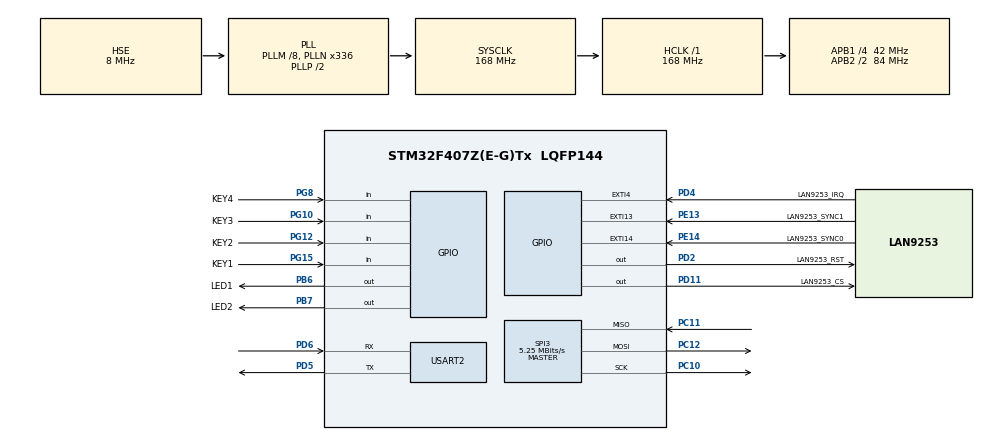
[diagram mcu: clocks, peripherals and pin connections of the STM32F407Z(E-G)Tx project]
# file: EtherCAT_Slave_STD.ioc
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Mcu.Family=STM32F4
Mcu.Name=STM32F407Z(E-G)Tx
Mcu.Package=LQFP144
NVIC.EXTI15_10_IRQn=true\:1\:1\:true\:false\:true\:true\:true\:true
NVIC.EXTI4_IRQn=true\:0\:0\:true\:false\:true\:true\:true\:true
NVIC.PriorityGroup=NVIC_PRIORITYGROUP_2
NVIC.TIM2_IRQn=true\:2\:1\:true\:false\:true\:true\:true\:true
PA13.Mode=Serial_Wire
PA13.Signal=SYS_JTMS-SWDIO
PA14.Mode=Serial_Wire
PA14.Signal=SYS_JTCK-SWCLK
PB6.GPIO_Label=LED1
PB6.GPIO_PuPd=GPIO_PULLUP
PB6.GPIO_Speed=GPIO_SPEED_FREQ_HIGH
PB6.Signal=GPIO_Output
PB7.GPIO_Label=LED2
PB7.GPIO_PuPd=GPIO_PULLUP
PB7.GPIO_Speed=GPIO_SPEED_FREQ_HIGH
PB7.Signal=GPIO_Output
PC10.GPIO_PuPd=GPIO_PULLUP
PC10.Mode=Full_Duplex_Master
PC10.Signal=SPI3_SCK
PC11.GPIO_PuPd=GPIO_PULLUP
PC11.Mode=Full_Duplex_Master
PC11.Signal=SPI3_MISO
PC12.GPIO_PuPd=GPIO_PULLUP
PC12.Mode=Full_Duplex_Master
PC12.Signal=SPI3_MOSI
PD11.GPIO_Label=LAN9253_CS
PD11.GPIO_PuPd=GPIO_PULLUP
PD11.GPIO_Speed=GPIO_SPEED_FREQ_VERY_HIGH
PD11.PinState=GPIO_PIN_SET
PD11.Signal=GPIO_Output
PD2.GPIO_Label=LAN9253_RST
PD2.GPIO_PuPd=GPIO_PULLUP
PD2.GPIO_Speed=GPIO_SPEED_FREQ_HIGH
PD2.PinState=GPIO_PIN_SET
PD2.Signal=GPIO_Output
PD4.GPIO_Label=LAN9253_IRQ
PD4.GPIO_ModeDefaultEXTI=GPIO_MODE_IT_FALLING
PD4.GPIO_PuPd=GPIO_PULLUP
PD4.Signal=GPXTI4
PD5.Mode=Asynchronous
PD5.Signal=USART2_TX
PD6.Mode=Asynchronous
PD6.Signal=USART2_RX
PE13.GPIO_Label=LAN9253_SYNC1
PE13.GPIO_ModeDefaultEXTI=GPIO_MODE_IT_FALLING
PE13.GPIO_PuPd=GPIO_PULLUP
PE13.Signal=GPXTI13
PE14.GPIO_Label=LAN9253_SYNC0
PE14.GPIO_ModeDefaultEXTI=GPIO_MODE_IT_FALLING
PE14.GPIO_PuPd=GPIO_PULLUP
PE14.Signal=GPXTI14
PG10.GPIO_Label=KEY3
PG10.GPIO_PuPd=GPIO_PULLUP
PG10.Signal=GPIO_Input
PG12.GPIO_Label=KEY2
PG12.GPIO_PuPd=GPIO_PULLUP
PG12.Signal=GPIO_Input
PG15.GPIO_Label=KEY1
PG15.GPIO_PuPd=GPIO_PULLUP
PG15.Signal=GPIO_Input
PG8.GPIO_Label=KEY4
PG8.GPIO_PuPd=GPIO_PULLUP
PG8.Signal=GPIO_Input
PH0-OSC_IN.Mode=HSE-External-Oscillator
PH0-OSC_IN.Signal=RCC_OSC_IN
PH1-OSC_OUT.Mode=HSE-External-Oscillator
PH1-OSC_OUT.Signal=RCC_OSC_OUT
ProjectManager.HeapSize=0x1000
ProjectManager.StackSize=0x2000
ProjectManager.TargetToolchain=CMake
RCC.48MHZClocksFreq_Value=84000000
RCC.AHBFreq_Value=168000000
RCC.APB1CLKDivider=RCC_HCLK_DIV4
RCC.APB1Freq_Value=42000000
RCC.APB1TimFreq_Value=84000000
RCC.APB2CLKDivider=RCC_HCLK_DIV2
RCC.APB2Freq_Value=84000000
RCC.APB2TimFreq_Value=168000000
RCC.CortexFreq_Value=168000000
RCC.HCLKFreq_Value=168000000
RCC.HSE_VALUE=8000000
RCC.HSI_VALUE=16000000
RCC.LSE_VALUE=32768
RCC.PLLM=8
RCC.PLLN=336
RCC.PLLSourceVirtual=RCC_PLLSOURCE_HSE
RCC.SYSCLKFreq_VALUE=168000000
RCC.SYSCLKSource=RCC_SYSCLKSOURCE_PLLCLK
RCC.VCOOutputFreq_Value=336000000
SPI3.BaudRatePrescaler=SPI_BAUDRATEPRESCALER_8
SPI3.CalculateBaudRate=5.25 MBits/s
SPI3.Direction=SPI_DIRECTION_2LINES
SPI3.Mode=SPI_MODE_MASTER
SPI3.VirtualType=VM_MASTER
TIM2.AutoReloadPreload=TIM_AUTORELOAD_PRELOAD_ENABLE
TIM2.Period=999
TIM2.Prescaler=83
USART2.VirtualMode=VM_ASYNC
VP_TIM2_VS_ClockSourceINT.Mode=Internal
board=custom

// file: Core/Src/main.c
/* USER CODE BEGIN Header */
/**
  ******************************************************************************
  * @file           : main.c
  * @brief          : Main program body
  ******************************************************************************
  * @attention
  *
  * Copyright (c) 2026 STMicroelectronics.
  * All rights reserved.
  *
  * This software is licensed under terms that can be found in the LICENSE file
  * in the root directory of this software component.
  * If no LICENSE file comes with this software, it is provided AS-IS.
  *
  ******************************************************************************
  */
/* USER CODE END Header */
#include "main.h"
#include "spi.h"
#include "tim.h"
#include "usart.h"
#include "gpio.h"

/* USER CODE BEGIN Includes */
#include <stdint.h>
#include <stdio.h>
#include <inttypes.h>
#include "bsp_led.h"
#include "bsp_uart.h"
#include "bsp_ssc_hw.h"
#include "applInterface.h"
#include "ecatappl.h"
#include "ecatslv.h"
#include "bsp_lan9253.h"
#include "CP-Device.h"

/* USER CODE END Includes */

/* USER CODE BEGIN PV */
volatile static uint32_t g_PDI_Isr_Cnt = 0U;
volatile static uint32_t g_sync_Isr_Cnt = 0U;
/* USER CODE END PV */

void SystemClock_Config(void);

int main(void)
{

  /* MCU Configuration--------------------------------------------------------*/

  /* Reset of all peripherals, Initializes the Flash interface and the Systick. */
  HAL_Init();

  /* Configure the system clock */
  SystemClock_Config();

  /* Initialize all configured peripherals */
  MX_GPIO_Init();
  MX_SPI3_Init();
  MX_TIM2_Init();
  MX_USART2_UART_Init();
  /* USER CODE BEGIN 2 */
  BSP_UART_Init();
  BSP_LED_Init();
  if (HW_Init() != 0U) {
    Error_Handler();
  }
  if (MainInit() != 0U) {
    Error_Handler();
  }
  HAL_TIM_Base_Start_IT(&htim2);

  // uint32_t time_start=0U;
  // uint32_t time_current=0U;

  /* USER CODE END 2 */

  /* Infinite loop */
  /* USER CODE BEGIN WHILE */
  while (1)
  {
    // time_current=HAL_GetTick();
    // if(time_current-time_start>=1000U){
    //   time_start=time_current;
    //   printf("time: %" PRIu32 "\n", time_current-time_start);
    //       printf("PDI_Isr_Cnt: %" PRIu32 "\n", g_PDI_Isr_Cnt);
    //       printf("app_Isr_Cnt: %" PRIu32 "\n", g_app_Isr_Cnt);
    //       printf("sync_Isr_Cnt: %" PRIu32 "\n", g_sync_Isr_Cnt);
    // }

    MainLoop();
    // printf("PDI_Isr_Cnt: %" PRIu32 "\n", g_PDI_Isr_Cnt);
    /* USER CODE END WHILE */

  }
}

void SystemClock_Config(void)
{
  RCC_OscInitTypeDef RCC_OscInitStruct = {0};
  RCC_ClkInitTypeDef RCC_ClkInitStruct = {0};

  /** Configure the main internal regulator output voltage
  */
  __HAL_RCC_PWR_CLK_ENABLE();
  __HAL_PWR_VOLTAGESCALING_CONFIG(PWR_REGULATOR_VOLTAGE_SCALE1);

  /** Initializes the RCC Oscillators according to the specified parameters
  * in the RCC_OscInitTypeDef structure.
  */
  RCC_OscInitStruct.OscillatorType = RCC_OSCILLATORTYPE_HSE;
  RCC_OscInitStruct.HSEState = RCC_HSE_ON;
  RCC_OscInitStruct.PLL.PLLState = RCC_PLL_ON;
  RCC_OscInitStruct.PLL.PLLSource = RCC_PLLSOURCE_HSE;
  RCC_OscInitStruct.PLL.PLLM = 8;
  RCC_OscInitStruct.PLL.PLLN = 336;
  RCC_OscInitStruct.PLL.PLLP = RCC_PLLP_DIV2;
  RCC_OscInitStruct.PLL.PLLQ = 4;
  if (HAL_RCC_OscConfig(&RCC_OscInitStruct) != HAL_OK)
  {
    Error_Handler();
  }

  /** Initializes the CPU, AHB and APB buses clocks
  */
  RCC_ClkInitStruct.ClockType = RCC_CLOCKTYPE_HCLK|RCC_CLOCKTYPE_SYSCLK
                              |RCC_CLOCKTYPE_PCLK1|RCC_CLOCKTYPE_PCLK2;
  RCC_ClkInitStruct.SYSCLKSource = RCC_SYSCLKSOURCE_PLLCLK;
  RCC_ClkInitStruct.AHBCLKDivider = RCC_SYSCLK_DIV1;
  RCC_ClkInitStruct.APB1CLKDivider = RCC_HCLK_DIV4;
  RCC_ClkInitStruct.APB2CLKDivider = RCC_HCLK_DIV2;

  if (HAL_RCC_ClockConfig(&RCC_ClkInitStruct, FLASH_LATENCY_5) != HAL_OK)
  {
    Error_Handler();
  }
}

/* USER CODE BEGIN 4 */
void HAL_GPIO_EXTI_Callback(uint16_t GPIO_Pin)
{
    // if (GPIO_Pin == LAN9253_IRQ_Pin) {
    //     PDI_Isr();
    //     BSP_LAN9253_ClearInterruptStatusIsr();
    //     g_PDI_Isr_Cnt++;
    // }
    if (GPIO_Pin == LAN9253_IRQ_Pin) {
      PDI_Isr();
      BSP_LAN9253_ClearInterruptStatusIsr();
      // g_PDI_Isr_Cnt++;
    }
    else if (GPIO_Pin == LAN9253_SYNC0_Pin) {
      Sync0_Isr();
      // g_sync_Isr_Cnt++;
    }
    else if (GPIO_Pin == LAN9253_SYNC1_Pin){
      Sync1_Isr();
    }
}

/* USER CODE END 4 */

void Error_Handler(void)
{
  __disable_irq();
  while (1)
  {
  }
}
